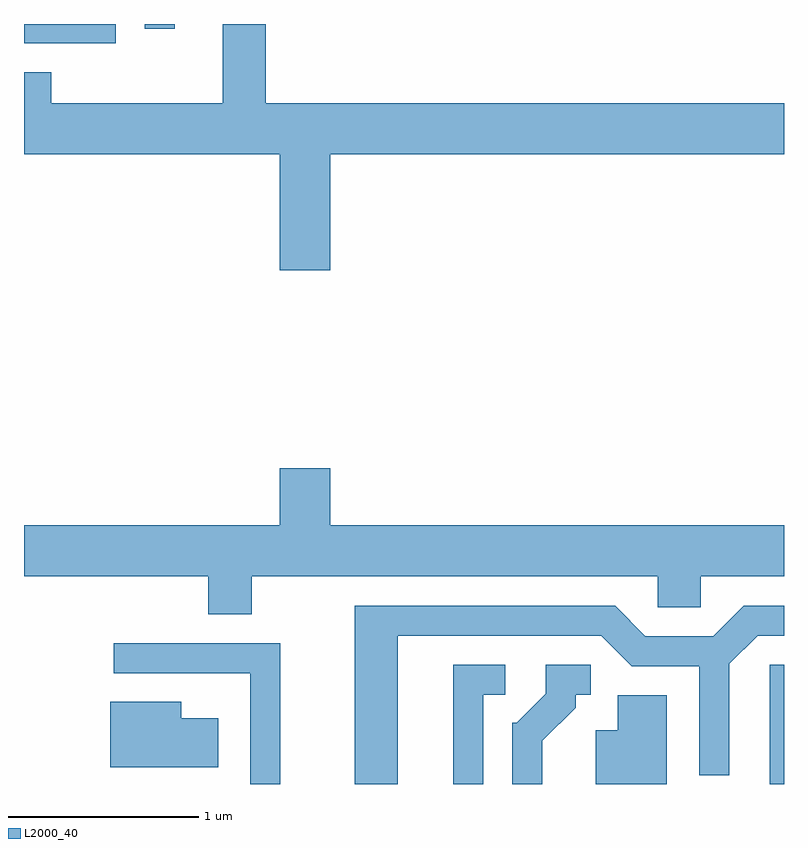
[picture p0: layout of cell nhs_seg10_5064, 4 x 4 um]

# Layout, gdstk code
import gdstk
lib = gdstk.Library(unit=1e-6, precision=1e-09)
def R(c, l, rs):  # rectangles x0, y0, x1, y1
    for r in rs: c.add(gdstk.rectangle(r[:2], r[2:], *l))
def P(c, l, *ps):  # polygons
    for p in ps: c.add(gdstk.Polygon(p, *l))
L2000_40 = (2000, 40)

nhs_seg10_5064 = lib.new_cell('nhs_seg10_5064')
R(nhs_seg10_5064, L2000_40, [(337.536,2190.522,337.611,2191.149), (333.611,2194.421,334.094,2194.522), (334.246,2194.498,334.404,2194.522)])
P(nhs_seg10_5064, L2000_40, [(335.224,2193.836),(337.611,2193.836),(337.611,2194.104),(334.884,2194.104),(334.884,2194.522),(334.656,2194.522),(334.656,2194.104),(333.754,2194.104),(333.754,2194.269),(333.611,2194.269),(333.611,2193.836),(334.956,2193.836),(334.956,2193.226),(335.224,2193.226)],
  [(334.809,2191.616),(336.946,2191.616),(336.946,2191.451),(337.174,2191.451),(337.174,2191.616),(337.611,2191.616),(337.611,2191.884),(335.224,2191.884),(335.224,2192.184),(334.956,2192.184),(334.956,2191.884),(333.611,2191.884),(333.611,2191.616),(334.581,2191.616),(334.581,2191.416),(334.809,2191.416)],
  [(335.579,2191.301),(336.649,2191.301),(336.809,2191.141),(337.166,2191.141),(337.166,2190.568),(337.324,2190.568),(337.324,2191.154),(337.472,2191.301),(337.611,2191.301),(337.611,2191.459),(337.399,2191.459),(337.239,2191.299),(336.882,2191.299),(336.722,2191.459),(335.351,2191.459),(335.351,2190.522),(335.579,2190.522)],
  [(334.959,2191.264),(334.083,2191.264),(334.083,2191.106),(334.801,2191.106),(334.801,2190.522),(334.959,2190.522)],
  [(336.339,2190.749),(336.514,2190.924),(336.514,2190.991),(336.593,2190.991),(336.593,2191.149),(336.356,2191.149),(336.356,2190.997),(336.204,2190.844),(336.181,2190.844),(336.181,2190.522),(336.339,2190.522)],
  [(336.029,2190.991),(336.143,2190.991),(336.143,2191.149),(335.871,2191.149),(335.871,2190.522),(336.029,2190.522)],
  [(336.994,2190.989),(336.736,2190.989),(336.736,2190.804),(336.621,2190.804),(336.621,2190.522),(336.994,2190.522)],
  [(334.634,2190.869),(334.439,2190.869),(334.439,2190.954),(334.066,2190.954),(334.066,2190.611),(334.634,2190.611)])

lib.write_gds('nhs_seg10_5064.gds')
